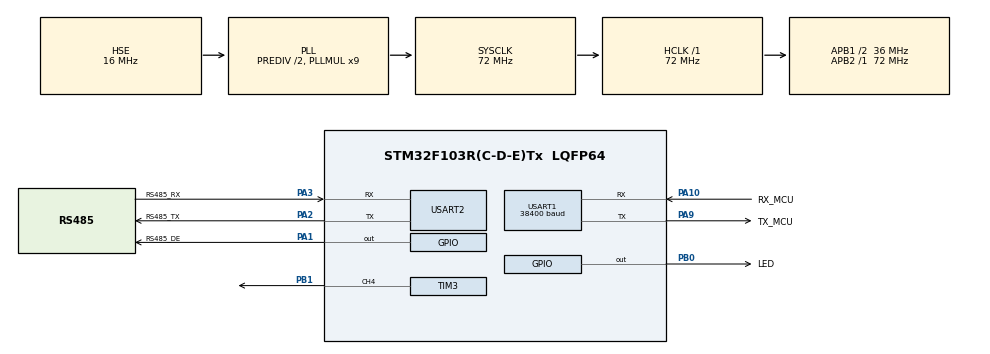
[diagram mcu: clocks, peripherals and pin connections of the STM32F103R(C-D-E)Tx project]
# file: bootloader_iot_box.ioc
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Mcu.Family=STM32F1
Mcu.Name=STM32F103R(C-D-E)Tx
Mcu.Package=LQFP64
NVIC.PriorityGroup=NVIC_PRIORITYGROUP_4
NVIC.USART1_IRQn=true\:0\:0\:false\:false\:true\:true\:true\:true
NVIC.USART2_IRQn=true\:0\:0\:false\:false\:true\:true\:true\:true
PA1.GPIO_Label=RS485_DE
PA1.Signal=GPIO_Output
PA10.GPIO_Label=RX_MCU
PA10.Mode=Asynchronous
PA10.Signal=USART1_RX
PA13.Mode=Serial_Wire
PA13.Signal=SYS_JTMS-SWDIO
PA14.Mode=Serial_Wire
PA14.Signal=SYS_JTCK-SWCLK
PA2.GPIO_Label=RS485_TX
PA2.Mode=Asynchronous
PA2.Signal=USART2_TX
PA3.GPIO_Label=RS485_RX
PA3.Mode=Asynchronous
PA3.Signal=USART2_RX
PA9.GPIO_Label=TX_MCU
PA9.Mode=Asynchronous
PA9.Signal=USART1_TX
PB0.GPIO_Label=LED
PB0.Signal=GPIO_Output
PB1.Signal=S_TIM3_CH4
PD0-OSC_IN.Mode=HSE-External-Oscillator
PD0-OSC_IN.Signal=RCC_OSC_IN
PD1-OSC_OUT.Mode=HSE-External-Oscillator
PD1-OSC_OUT.Signal=RCC_OSC_OUT
ProjectManager.HeapSize=0x200
ProjectManager.StackSize=0x400
ProjectManager.TargetToolchain=STM32CubeIDE
RCC.AHBFreq_Value=72000000
RCC.APB1CLKDivider=RCC_HCLK_DIV2
RCC.APB1Freq_Value=36000000
RCC.APB1TimFreq_Value=72000000
RCC.APB2Freq_Value=72000000
RCC.APB2TimFreq_Value=72000000
RCC.HCLKFreq_Value=72000000
RCC.HSEDivPLL=RCC_HSE_PREDIV_DIV2
RCC.HSE_VALUE=16000000
RCC.PLLMUL=RCC_PLL_MUL9
RCC.PLLSourceVirtual=RCC_PLLSOURCE_HSE
RCC.SYSCLKFreq_VALUE=72000000
RCC.SYSCLKSource=RCC_SYSCLKSOURCE_PLLCLK
RCC.USBFreq_Value=72000000
SH.S_TIM3_CH4.0=TIM3_CH4,PWM Generation4 CH4
TIM3.Channel-PWM\ Generation4\ CH4=TIM_CHANNEL_4
TIM3.Period=12000-1
USART1.BaudRate=38400
USART1.VirtualMode=VM_ASYNC
USART2.VirtualMode=VM_ASYNC
VP_CRC_VS_CRC.Mode=CRC_Activate
VP_TIM3_VS_ClockSourceINT.Mode=Internal
board=custom

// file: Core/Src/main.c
/* USER CODE BEGIN Header */
/**
  ******************************************************************************
  * @file           : main.c
  * @brief          : Main program body
  ******************************************************************************
  * @attention
  *
  * Copyright (c) 2024 STMicroelectronics.
  * All rights reserved.
  *
  * This software is licensed under terms that can be found in the LICENSE file
  * in the root directory of this software component.
  * If no LICENSE file comes with this software, it is provided AS-IS.
  *
  ******************************************************************************
  */
/* USER CODE END Header */
#include "main.h"

/* USER CODE BEGIN Includes */
#include "bootloader.h"
#include "stdio.h"
#define ADDR_APP_PROGRAM 0x08005000
#include "stm32f1xx_hal.h"

void BootJumpToApplication(uint32_t appAddress)
{
    // VÃ´ hiá»‡u hÃ³a táº¥t cáº£ cÃ¡c ngáº¯t

	__disable_irq();
    // Reset táº¥t cáº£ cÃ¡c ngáº¯t pending trong NVIC
    for (uint32_t i = 0; i < 8; i++) {
        NVIC->ICER[i] = 0xFFFFFFFF;
        NVIC->ICPR[i] = 0xFFFFFFFF;
    }
    // Táº¯t bá»™ Ä‘áº¿m SysTick
    SysTick->CTRL = 0;
    SCB->ICSR |= SCB_ICSR_PENDSTCLR_Msk;

    // VÃ´ hiá»‡u hÃ³a cÃ¡c lá»—i há»‡ thá»‘ng (usage, bus, memory faults)
    SCB->SHCSR &= ~(SCB_SHCSR_USGFAULTENA_Msk |
                    SCB_SHCSR_BUSFAULTENA_Msk |
                    SCB_SHCSR_MEMFAULTENA_Msk);

    // Thiáº¿t láº­p láº¡i vector table Ä‘á»ƒ trá»? Ä‘áº¿n á»©ng dá»¥ng
    SCB->VTOR = appAddress;

    // Thiáº¿t láº­p Main Stack Pointer tá»« vector table cá»§a á»©ng dá»¥ng
    __set_MSP(*((volatile uint32_t*)appAddress));

    // Láº¥y Ä‘á»‹a chá»‰ cá»§a hÃ m reset handler tá»« vector table
    uint32_t jumpAddress = *((volatile uint32_t*)(appAddress + 4));
    void (*resetHandler)(void) = (void*)jumpAddress;
    // Nháº£y Ä‘áº¿n hÃ m reset handler cá»§a á»©ng dá»¥ng
    resetHandler();
}
/* USER CODE END Includes */

CRC_HandleTypeDef hcrc;

TIM_HandleTypeDef htim3;

UART_HandleTypeDef huart1;
UART_HandleTypeDef huart2;

void SystemClock_Config(void);
static void MX_GPIO_Init(void);
static void MX_USART1_UART_Init(void);
static void MX_USART2_UART_Init(void);
static void MX_CRC_Init(void);
static void MX_TIM3_Init(void);

/* USER CODE BEGIN 0 */
void SOFT_RESET(void)
{
    __disable_irq();// Close all interrupts
	HAL_NVIC_SystemReset();//RESET MCU
}
/* USER CODE END 0 */

int main(void)
{

  /* USER CODE BEGIN 1 */
	__enable_irq();//
  /* USER CODE END 1 */

  /* MCU Configuration--------------------------------------------------------*/

  /* Reset of all peripherals, Initializes the Flash interface and the Systick. */
  HAL_Init();

  /* Configure the system clock */
  SystemClock_Config();

  /* Initialize all configured peripherals */
  MX_GPIO_Init();
  MX_USART1_UART_Init();
  MX_USART2_UART_Init();
  MX_CRC_Init();
  MX_TIM3_Init();
  /* USER CODE BEGIN 2 */
  HAL_TIM_PWM_Start(&htim3, TIM_CHANNEL_4);
  htim3.Instance->CCR4 = 200;
  debugPrint("BOOTLOADER: Init done\r\n");
  debugPrint("BOOTLOADER: HW_VER: %d, FW_VER: %d\n", HW_VER_NUMBER, FIRM_VER);
//  uint16_t cnt = 0;
  debugPrint("Bootloader custom start!\n");
  HAL_Delay(100);
  volatile uint8_t retry = 4;

  if(firmware_update_checkHaveNewFimrware())
  		{
  			while (--retry)
  			{
  				if(firmware_update_updateNewFirmware())
  				{
  					debugPrint("update firmware success!\n");
  						break;
  				}
  				else
  				{
  					debugPrint("update firmware fail, retry left %d",retry);
  				}
  				HAL_Delay(5000);
  			}
  			if(retry == 0)
  			{
  				debugPrint("restart....\n");
  				HAL_Delay(10000);
  				SOFT_RESET();
  				while(1);
  			}
  		}
  /* USER CODE END 2 */

  /* Infinite loop */
  while (1)
  {

    /* USER CODE BEGIN 3 */

//	  for (int i = 0; i < 6; i++)
//      {
//		debugPrint("jump to app ... %d\n",i);
////		 HAL_GPIO_TogglePin(LED_GPIO_Port, LED_Pin);
//		 HAL_Delay(1000);
//      }
//				cnt++;
				break;
  }
  BootJumpToApplication(FLASH_ADDR_START_APPLICATION);
  debugPrint("After main, should never be reached.\n");
  /* USER CODE END 3 */
}

void SystemClock_Config(void)
{
  RCC_OscInitTypeDef RCC_OscInitStruct = {0};
  RCC_ClkInitTypeDef RCC_ClkInitStruct = {0};

  /** Initializes the RCC Oscillators according to the specified parameters
  * in the RCC_OscInitTypeDef structure.
  */
  RCC_OscInitStruct.OscillatorType = RCC_OSCILLATORTYPE_HSE;
  RCC_OscInitStruct.HSEState = RCC_HSE_ON;
  RCC_OscInitStruct.HSEPredivValue = RCC_HSE_PREDIV_DIV2;
  RCC_OscInitStruct.HSIState = RCC_HSI_ON;
  RCC_OscInitStruct.PLL.PLLState = RCC_PLL_ON;
  RCC_OscInitStruct.PLL.PLLSource = RCC_PLLSOURCE_HSE;
  RCC_OscInitStruct.PLL.PLLMUL = RCC_PLL_MUL9;
  if (HAL_RCC_OscConfig(&RCC_OscInitStruct) != HAL_OK)
  {
    Error_Handler();
  }

  /** Initializes the CPU, AHB and APB buses clocks
  */
  RCC_ClkInitStruct.ClockType = RCC_CLOCKTYPE_HCLK|RCC_CLOCKTYPE_SYSCLK
                              |RCC_CLOCKTYPE_PCLK1|RCC_CLOCKTYPE_PCLK2;
  RCC_ClkInitStruct.SYSCLKSource = RCC_SYSCLKSOURCE_PLLCLK;
  RCC_ClkInitStruct.AHBCLKDivider = RCC_SYSCLK_DIV1;
  RCC_ClkInitStruct.APB1CLKDivider = RCC_HCLK_DIV2;
  RCC_ClkInitStruct.APB2CLKDivider = RCC_HCLK_DIV1;

  if (HAL_RCC_ClockConfig(&RCC_ClkInitStruct, FLASH_LATENCY_2) != HAL_OK)
  {
    Error_Handler();
  }
}

static void MX_CRC_Init(void)
{

  hcrc.Instance = CRC;
  if (HAL_CRC_Init(&hcrc) != HAL_OK)
  {
    Error_Handler();
  }

}

static void MX_TIM3_Init(void)
{

  TIM_ClockConfigTypeDef sClockSourceConfig = {0};
  TIM_MasterConfigTypeDef sMasterConfig = {0};
  TIM_OC_InitTypeDef sConfigOC = {0};

  htim3.Instance = TIM3;
    htim3.Init.Prescaler = 18000-1;
    htim3.Init.CounterMode = TIM_COUNTERMODE_UP;
    htim3.Init.Period = 2000-1;
    htim3.Init.ClockDivision = TIM_CLOCKDIVISION_DIV1;
    htim3.Init.AutoReloadPreload = TIM_AUTORELOAD_PRELOAD_DISABLE;
  if (HAL_TIM_Base_Init(&htim3) != HAL_OK)
  {
    Error_Handler();
  }
  sClockSourceConfig.ClockSource = TIM_CLOCKSOURCE_INTERNAL;
  if (HAL_TIM_ConfigClockSource(&htim3, &sClockSourceConfig) != HAL_OK)
  {
    Error_Handler();
  }
  if (HAL_TIM_PWM_Init(&htim3) != HAL_OK)
  {
    Error_Handler();
  }
  sMasterConfig.MasterOutputTrigger = TIM_TRGO_RESET;
  sMasterConfig.MasterSlaveMode = TIM_MASTERSLAVEMODE_DISABLE;
  if (HAL_TIMEx_MasterConfigSynchronization(&htim3, &sMasterConfig) != HAL_OK)
  {
    Error_Handler();
  }
  sConfigOC.OCMode = TIM_OCMODE_PWM1;
  sConfigOC.Pulse = 0;
  sConfigOC.OCPolarity = TIM_OCPOLARITY_HIGH;
  sConfigOC.OCFastMode = TIM_OCFAST_DISABLE;
  if (HAL_TIM_PWM_ConfigChannel(&htim3, &sConfigOC, TIM_CHANNEL_4) != HAL_OK)
  {
    Error_Handler();
  }
  HAL_TIM_MspPostInit(&htim3);

}

static void MX_USART1_UART_Init(void)
{

  huart1.Instance = USART1;
  huart1.Init.BaudRate = 38400;
  huart1.Init.WordLength = UART_WORDLENGTH_8B;
  huart1.Init.StopBits = UART_STOPBITS_1;
  huart1.Init.Parity = UART_PARITY_NONE;
  huart1.Init.Mode = UART_MODE_TX_RX;
  huart1.Init.HwFlowCtl = UART_HWCONTROL_NONE;
  huart1.Init.OverSampling = UART_OVERSAMPLING_16;
  if (HAL_UART_Init(&huart1) != HAL_OK)
  {
    Error_Handler();
  }

}

static void MX_USART2_UART_Init(void)
{

  huart2.Instance = USART2;
  huart2.Init.BaudRate = 115200;
  huart2.Init.WordLength = UART_WORDLENGTH_8B;
  huart2.Init.StopBits = UART_STOPBITS_1;
  huart2.Init.Parity = UART_PARITY_NONE;
  huart2.Init.Mode = UART_MODE_TX_RX;
  huart2.Init.HwFlowCtl = UART_HWCONTROL_NONE;
  huart2.Init.OverSampling = UART_OVERSAMPLING_16;
  if (HAL_UART_Init(&huart2) != HAL_OK)
  {
    Error_Handler();
  }

}

static void MX_GPIO_Init(void)
{
  GPIO_InitTypeDef GPIO_InitStruct = {0};

  /* GPIO Ports Clock Enable */
  __HAL_RCC_GPIOD_CLK_ENABLE();
  __HAL_RCC_GPIOA_CLK_ENABLE();
  __HAL_RCC_GPIOB_CLK_ENABLE();

  /*Configure GPIO pin Output Level */
  HAL_GPIO_WritePin(RS485_DE_GPIO_Port, RS485_DE_Pin, GPIO_PIN_RESET);

  /*Configure GPIO pin Output Level */
  HAL_GPIO_WritePin(LED_GPIO_Port, LED_Pin, GPIO_PIN_RESET);

  /*Configure GPIO pin : RS485_DE_Pin */
  GPIO_InitStruct.Pin = RS485_DE_Pin;
  GPIO_InitStruct.Mode = GPIO_MODE_OUTPUT_PP;
  GPIO_InitStruct.Pull = GPIO_NOPULL;
  GPIO_InitStruct.Speed = GPIO_SPEED_FREQ_LOW;
  HAL_GPIO_Init(RS485_DE_GPIO_Port, &GPIO_InitStruct);

  /*Configure GPIO pin : LED_Pin */
  GPIO_InitStruct.Pin = LED_Pin;
  GPIO_InitStruct.Mode = GPIO_MODE_OUTPUT_PP;
  GPIO_InitStruct.Pull = GPIO_NOPULL;
  GPIO_InitStruct.Speed = GPIO_SPEED_FREQ_LOW;
  HAL_GPIO_Init(LED_GPIO_Port, &GPIO_InitStruct);

}

void Error_Handler(void)
{
  __disable_irq();
  while (1)
  {
  }
}
